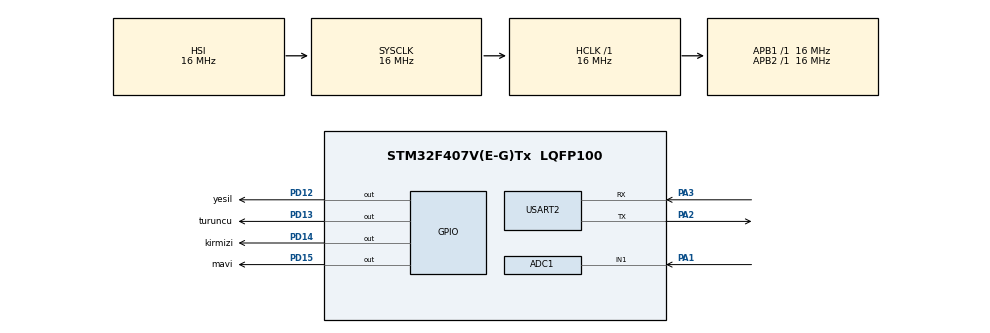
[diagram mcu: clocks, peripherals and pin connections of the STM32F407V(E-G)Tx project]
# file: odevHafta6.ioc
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ADC1.Channel-0\#ChannelRegularConversion=ADC_CHANNEL_1
ADC1.NbrOfConversionFlag=1
ADC1.Rank-0\#ChannelRegularConversion=1
ADC1.Resolution=ADC_RESOLUTION_10B
ADC1.SamplingTime-0\#ChannelRegularConversion=ADC_SAMPLETIME_3CYCLES
ADC1.master=1
Mcu.Family=STM32F4
Mcu.Name=STM32F407V(E-G)Tx
Mcu.Package=LQFP100
NVIC.ADC_IRQn=true\:0\:0\:false\:false\:true\:true
NVIC.PriorityGroup=NVIC_PRIORITYGROUP_4
NVIC.USART2_IRQn=true\:0\:0\:false\:false\:true\:true
PA1.Signal=ADCx_IN1
PA2.Mode=Asynchronous
PA2.Signal=USART2_TX
PA3.Mode=Asynchronous
PA3.Signal=USART2_RX
PD12.GPIO_Label=yesil
PD12.Signal=GPIO_Output
PD13.GPIO_Label=turuncu
PD13.Signal=GPIO_Output
PD14.GPIO_Label=kirmizi
PD14.Signal=GPIO_Output
PD15.GPIO_Label=mavi
PD15.Signal=GPIO_Output
ProjectManager.HeapSize=0x200
ProjectManager.StackSize=0x400
ProjectManager.TargetToolchain=MDK-ARM V5
RCC.AHBFreq_Value=16000000
RCC.APB1Freq_Value=16000000
RCC.APB2Freq_Value=16000000
RCC.CortexFreq_Value=16000000
RCC.HSE_VALUE=25000000
RCC.HSI_VALUE=16000000
RCC.LSE_VALUE=32768
RCC.SYSCLKFreq_VALUE=16000000
RCC.VCOOutputFreq_Value=192000000
SH.ADCx_IN1.0=ADC1_IN1,IN1
USART2.VirtualMode=VM_ASYNC
board=odevHafta6

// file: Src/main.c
/**
  ******************************************************************************
  * @file           : main.c
  * @brief          : Main program body
  ******************************************************************************
  ** This notice applies to any and all portions of this file
  * that are not between comment pairs USER CODE BEGIN and
  * USER CODE END. Other portions of this file, whether
  * inserted by the user or by software development tools
  * are owned by their respective copyright owners.
  *
  * COPYRIGHT(c) 2018 STMicroelectronics
  *
  * Redistribution and use in source and binary forms, with or without modification,
  * are permitted provided that the following conditions are met:
  *   1. Redistributions of source code must retain the above copyright notice,
  *      this list of conditions and the following disclaimer.
  *   2. Redistributions in binary form must reproduce the above copyright notice,
  *      this list of conditions and the following disclaimer in the documentation
  *      and/or other materials provided with the distribution.
  *   3. Neither the name of STMicroelectronics nor the names of its contributors
  *      may be used to endorse or promote products derived from this software
  *      without specific prior written permission.
  *
  * THIS SOFTWARE IS PROVIDED BY THE COPYRIGHT HOLDERS AND CONTRIBUTORS "AS IS"
  * AND ANY EXPRESS OR IMPLIED WARRANTIES, INCLUDING, BUT NOT LIMITED TO, THE
  * IMPLIED WARRANTIES OF MERCHANTABILITY AND FITNESS FOR A PARTICULAR PURPOSE ARE
  * DISCLAIMED. IN NO EVENT SHALL THE COPYRIGHT HOLDER OR CONTRIBUTORS BE LIABLE
  * FOR ANY DIRECT, INDIRECT, INCIDENTAL, SPECIAL, EXEMPLARY, OR CONSEQUENTIAL
  * DAMAGES (INCLUDING, BUT NOT LIMITED TO, PROCUREMENT OF SUBSTITUTE GOODS OR
  * SERVICES; LOSS OF USE, DATA, OR PROFITS; OR BUSINESS INTERRUPTION) HOWEVER
  * CAUSED AND ON ANY THEORY OF LIABILITY, WHETHER IN CONTRACT, STRICT LIABILITY,
  * OR TORT (INCLUDING NEGLIGENCE OR OTHERWISE) ARISING IN ANY WAY OUT OF THE USE
  * OF THIS SOFTWARE, EVEN IF ADVISED OF THE POSSIBILITY OF SUCH DAMAGE.
  *
  ******************************************************************************
  */
#include "main.h"
#include "stm32f4xx_hal.h"

ADC_HandleTypeDef hadc1;

UART_HandleTypeDef huart2;

int adcval;
uint16_t t_data;
uint16_t r_data;

/* USER CODE BEGIN PV */
/* Private variables ---------------------------------------------------------*/

/* USER CODE END PV */

void SystemClock_Config(void);
static void MX_GPIO_Init(void);
static void MX_ADC1_Init(void);
static void MX_USART2_UART_Init(void);

/* USER CODE BEGIN PFP */
/* Private function prototypes -----------------------------------------------*/

/* USER CODE END PFP */

/* USER CODE BEGIN 0 */
void ADC_IRQHandler(void)
{
  /* USER CODE BEGIN ADC_IRQn 0 */
adcval=HAL_ADC_GetValue(&hadc1) ;
	t_data=adcval;
  /* USER CODE END ADC_IRQn 0 */
  HAL_ADC_IRQHandler(&hadc1);
  /* USER CODE BEGIN ADC_IRQn 1 */

  /* USER CODE END ADC_IRQn 1 */
}

void USART2_IRQHandler(void)
{
  /* USER CODE BEGIN USART2_IRQn 0 */

	HAL_UART_Receive_IT(&huart2,(uint8_t*)&r_data,2);

  /* USER CODE END USART2_IRQn 0 */
  HAL_UART_IRQHandler(&huart2);
  /* USER CODE BEGIN USART2_IRQn 1 */

  /* USER CODE END USART2_IRQn 1 */
}
 void HAL_UART_RxCpltCallback(UART_HandleTypeDef *huart)
{
	if (t_data<256){
				HAL_GPIO_WritePin(GPIOD,yesil_Pin|kirmizi_Pin|turuncu_Pin|mavi_Pin,GPIO_PIN_RESET);
			HAL_GPIO_WritePin(GPIOD,kirmizi_Pin,GPIO_PIN_SET);
//for(int i=0;i<10000000;i++);

	}else if(t_data< 512){
				HAL_GPIO_WritePin(GPIOD,yesil_Pin|kirmizi_Pin|turuncu_Pin|mavi_Pin,GPIO_PIN_RESET);
			HAL_GPIO_WritePin(GPIOD,turuncu_Pin,GPIO_PIN_SET);

	}else if(t_data< 767){
				HAL_GPIO_WritePin(GPIOD,yesil_Pin|kirmizi_Pin|turuncu_Pin|mavi_Pin,GPIO_PIN_RESET);
			HAL_GPIO_WritePin(GPIOD,mavi_Pin,GPIO_PIN_SET);

	}else if (t_data<1000){
				HAL_GPIO_WritePin(GPIOD,yesil_Pin|kirmizi_Pin|turuncu_Pin|mavi_Pin,GPIO_PIN_RESET);
			HAL_GPIO_WritePin(GPIOD,yesil_Pin,GPIO_PIN_SET);

	}else{
		HAL_GPIO_WritePin(GPIOD,yesil_Pin|kirmizi_Pin|turuncu_Pin|mavi_Pin,GPIO_PIN_SET);
			for(int i=0;i<100000;i++){};
				HAL_GPIO_WritePin(GPIOD,yesil_Pin|kirmizi_Pin|turuncu_Pin|mavi_Pin,GPIO_PIN_RESET);
	}
//	for(int i=0;i<10000;i++);

}
/* USER CODE END 0 */

int main(void)
{

  /* MCU Configuration----------------------------------------------------------*/

  /* Reset of all peripherals, Initializes the Flash interface and the Systick. */
  HAL_Init();

  /* Configure the system clock */
  SystemClock_Config();

  /* Initialize all configured peripherals */
  MX_GPIO_Init();
  MX_ADC1_Init();
  MX_USART2_UART_Init();
  /* USER CODE BEGIN 2 */

  HAL_ADC_Start_IT(&hadc1);
  /* USER CODE END 2 */

  /* Infinite loop */
  /* USER CODE BEGIN WHILE */
  while (1)
  {
 HAL_UART_Transmit_IT(&huart2,(uint8_t*)&t_data,2);
			HAL_Delay(500);
  /* USER CODE END WHILE */
  HAL_ADC_Start_IT(&hadc1);
		HAL_Delay(500);
  }

}

void SystemClock_Config(void)
{

  RCC_OscInitTypeDef RCC_OscInitStruct;
  RCC_ClkInitTypeDef RCC_ClkInitStruct;

    /**Configure the main internal regulator output voltage
    */
  __HAL_RCC_PWR_CLK_ENABLE();

  __HAL_PWR_VOLTAGESCALING_CONFIG(PWR_REGULATOR_VOLTAGE_SCALE1);

    /**Initializes the CPU, AHB and APB busses clocks
    */
  RCC_OscInitStruct.OscillatorType = RCC_OSCILLATORTYPE_HSI;
  RCC_OscInitStruct.HSIState = RCC_HSI_ON;
  RCC_OscInitStruct.HSICalibrationValue = 16;
  RCC_OscInitStruct.PLL.PLLState = RCC_PLL_NONE;
  if (HAL_RCC_OscConfig(&RCC_OscInitStruct) != HAL_OK)
  {
    _Error_Handler(__FILE__, __LINE__);
  }

    /**Initializes the CPU, AHB and APB busses clocks
    */
  RCC_ClkInitStruct.ClockType = RCC_CLOCKTYPE_HCLK|RCC_CLOCKTYPE_SYSCLK
                              |RCC_CLOCKTYPE_PCLK1|RCC_CLOCKTYPE_PCLK2;
  RCC_ClkInitStruct.SYSCLKSource = RCC_SYSCLKSOURCE_HSI;
  RCC_ClkInitStruct.AHBCLKDivider = RCC_SYSCLK_DIV1;
  RCC_ClkInitStruct.APB1CLKDivider = RCC_HCLK_DIV1;
  RCC_ClkInitStruct.APB2CLKDivider = RCC_HCLK_DIV1;

  if (HAL_RCC_ClockConfig(&RCC_ClkInitStruct, FLASH_LATENCY_0) != HAL_OK)
  {
    _Error_Handler(__FILE__, __LINE__);
  }

    /**Configure the Systick interrupt time
    */
  HAL_SYSTICK_Config(HAL_RCC_GetHCLKFreq()/1000);

    /**Configure the Systick
    */
  HAL_SYSTICK_CLKSourceConfig(SYSTICK_CLKSOURCE_HCLK);

  /* SysTick_IRQn interrupt configuration */
  HAL_NVIC_SetPriority(SysTick_IRQn, 0, 0);
}

/* ADC1 init function */
static void MX_ADC1_Init(void)
{

  ADC_ChannelConfTypeDef sConfig;

    /**Configure the global features of the ADC (Clock, Resolution, Data Alignment and number of conversion)
    */
  hadc1.Instance = ADC1;
  hadc1.Init.ClockPrescaler = ADC_CLOCK_SYNC_PCLK_DIV2;
  hadc1.Init.Resolution = ADC_RESOLUTION_10B;
  hadc1.Init.ScanConvMode = DISABLE;
  hadc1.Init.ContinuousConvMode = DISABLE;
  hadc1.Init.DiscontinuousConvMode = DISABLE;
  hadc1.Init.ExternalTrigConvEdge = ADC_EXTERNALTRIGCONVEDGE_NONE;
  hadc1.Init.ExternalTrigConv = ADC_SOFTWARE_START;
  hadc1.Init.DataAlign = ADC_DATAALIGN_RIGHT;
  hadc1.Init.NbrOfConversion = 1;
  hadc1.Init.DMAContinuousRequests = DISABLE;
  hadc1.Init.EOCSelection = ADC_EOC_SINGLE_CONV;
  if (HAL_ADC_Init(&hadc1) != HAL_OK)
  {
    _Error_Handler(__FILE__, __LINE__);
  }

    /**Configure for the selected ADC regular channel its corresponding rank in the sequencer and its sample time.
    */
  sConfig.Channel = ADC_CHANNEL_1;
  sConfig.Rank = 1;
  sConfig.SamplingTime = ADC_SAMPLETIME_3CYCLES;
  if (HAL_ADC_ConfigChannel(&hadc1, &sConfig) != HAL_OK)
  {
    _Error_Handler(__FILE__, __LINE__);
  }

}

/* USART2 init function */
static void MX_USART2_UART_Init(void)
{

  huart2.Instance = USART2;
  huart2.Init.BaudRate = 115200;
  huart2.Init.WordLength = UART_WORDLENGTH_8B;
  huart2.Init.StopBits = UART_STOPBITS_1;
  huart2.Init.Parity = UART_PARITY_NONE;
  huart2.Init.Mode = UART_MODE_TX_RX;
  huart2.Init.HwFlowCtl = UART_HWCONTROL_NONE;
  huart2.Init.OverSampling = UART_OVERSAMPLING_16;
  if (HAL_UART_Init(&huart2) != HAL_OK)
  {
    _Error_Handler(__FILE__, __LINE__);
  }

}

/** Configure pins as
        * Analog
        * Input
        * Output
        * EVENT_OUT
        * EXTI
*/
static void MX_GPIO_Init(void)
{

  GPIO_InitTypeDef GPIO_InitStruct;

  /* GPIO Ports Clock Enable */
  __HAL_RCC_GPIOA_CLK_ENABLE();
  __HAL_RCC_GPIOD_CLK_ENABLE();

  /*Configure GPIO pin Output Level */
  HAL_GPIO_WritePin(GPIOD, yesil_Pin|turuncu_Pin|kirmizi_Pin|mavi_Pin, GPIO_PIN_RESET);

  /*Configure GPIO pins : yesil_Pin turuncu_Pin kirmizi_Pin mavi_Pin */
  GPIO_InitStruct.Pin = yesil_Pin|turuncu_Pin|kirmizi_Pin|mavi_Pin;
  GPIO_InitStruct.Mode = GPIO_MODE_OUTPUT_PP;
  GPIO_InitStruct.Pull = GPIO_NOPULL;
  GPIO_InitStruct.Speed = GPIO_SPEED_FREQ_LOW;
  HAL_GPIO_Init(GPIOD, &GPIO_InitStruct);

}

void _Error_Handler(char *file, int line)
{
  while(1)
  {
  }
}

/************************ (C) COPYRIGHT STMicroelectronics *****END OF FILE****/
